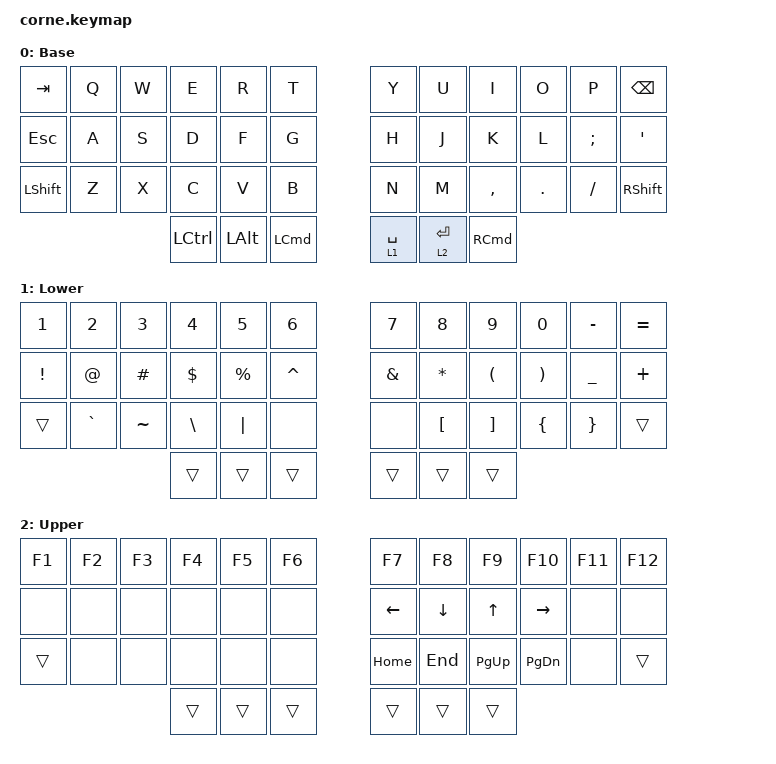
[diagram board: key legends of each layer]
#include <behaviors.dtsi>
#include <dt-bindings/zmk/keys.h>

/ {
    combos { compatible = "zmk,combos"; };

    behaviors {
        backdel: backdel {
            compatible = "zmk,behavior-mod-morph";
            label = "BACKDEL";
            bindings = <&kp BACKSPACE>, <&kp DELETE>;

            #binding-cells = <0>;
            mods = <(MOD_LSFT|MOD_RSFT)>;
        };
    };

    macros {
        terminal: terminal {
            compatible = "zmk,behavior-macro";
            #binding-cells = <0>;
            bindings = <&kt LCMD &kp T &kt LCMD>;
            label = "TERMINAL";
        };

        chrome: chrome {
            compatible = "zmk,behavior-macro";
            #binding-cells = <0>;
            bindings = <&kt LCMD &kp C &kt LCMD>;
            label = "CHROME";
        };

        explorer: explorer {
            compatible = "zmk,behavior-macro";
            #binding-cells = <0>;
            bindings = <&kt LCMD &kp F &kt LCMD>;
            label = "EXPLORER";
        };
    };

    keymap {
        compatible = "zmk,keymap";

        Base {
            bindings = <
&kp TAB     &kp Q  &kp W  &kp E      &kp R         &kp T       &kp Y        &kp U        &kp I      &kp O    &kp P     &kp BACKSPACE
&kp ESCAPE  &kp A  &kp S  &kp D      &kp F         &kp G       &kp H        &kp J        &kp K      &kp L    &kp SEMI  &kp APOS
&kp LSHFT   &kp Z  &kp X  &kp C      &kp V         &kp B       &kp N        &kp M        &kp COMMA  &kp DOT  &kp FSLH  &kp RSHIFT
                          &kp LCTRL  &kp LEFT_ALT  &kp LCMD    &lt 1 SPACE  &lt 2 ENTER  &kp RCMD
            >;
        };

        Lower {
            bindings = <
&kp N1           &kp N2       &kp N3     &kp N4         &kp N5       &kp N6       &kp N7         &kp N8            &kp N9                &kp N0                 &kp MINUS        &kp EQUAL
&kp EXCLAMATION  &kp AT_SIGN  &kp HASH   &kp DOLLAR     &kp PERCENT  &kp CARET    &kp AMPERSAND  &kp ASTERISK      &kp LEFT_PARENTHESIS  &kp RIGHT_PARENTHESIS  &kp UNDER        &kp PLUS
&trans           &kp GRAVE    &kp TILDE  &kp BACKSLASH  &kp PIPE     &none        &none          &kp LEFT_BRACKET  &kp RIGHT_BRACKET     &kp LEFT_BRACE         &kp RIGHT_BRACE  &trans
                                         &trans         &trans       &trans       &trans         &trans            &trans
            >;
        };

        Upper {
            bindings = <
&kp F1  &kp F2  &kp F3  &kp F4  &kp F5  &kp F6    &kp F7    &kp F8    &kp F9     &kp F10    &kp F11  &kp F12
&none   &none   &none   &none   &none   &none     &kp LEFT  &kp DOWN  &kp UP     &kp RIGHT  &none    &none
&trans  &none   &none   &none   &none   &none     &kp HOME  &kp END   &kp PG_UP  &kp PG_DN  &none    &trans
                        &trans  &trans  &trans    &trans    &trans    &trans
            >;
        };
    };
};
